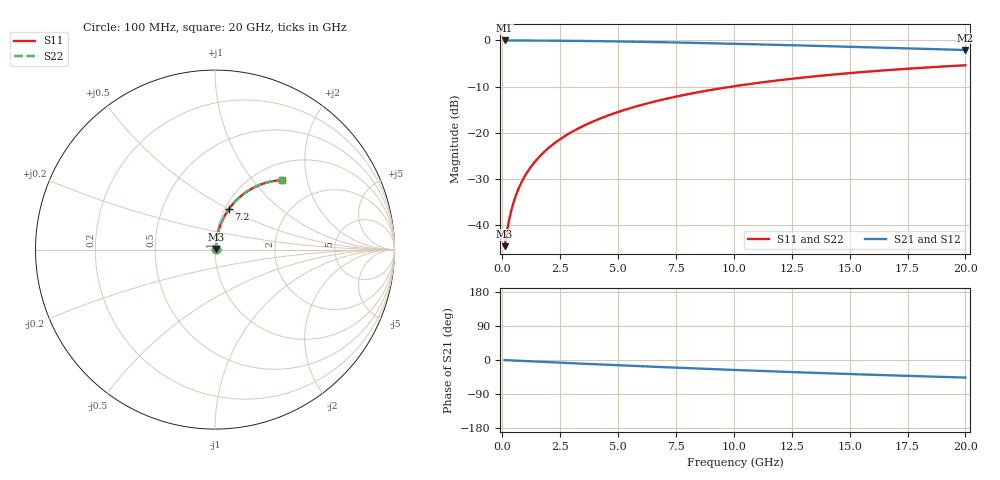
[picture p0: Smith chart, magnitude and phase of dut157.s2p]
! Touchstone file exported from HFSS 2024.1.0
!  File:  C:/UserFiles/LocalFiles/RDL_TSV_Batchsim/temp_RDL_top_157_1778685331.aedt
!  Generated:  11:17:50 PM May 13, 2026
!  Design:  RDL_top
!  Project:  temp_RDL_top_157_1778685331
!  Setup:  Setup1
!  Solution:  Sweep
! Variables:
!  dtsv = 10.80580581um
!  hbump = 3um
!  htsv = 50.84um
!  ldown = 100um
!  lrdl = 589.53um
!  p = 40
!  p1 = 53.86um
!  rhole = 1um
!  t = 450um
!  tdown = 3.915915916um
!  trdl = 4.26um
!  wdown = 15.38538539um
!  wrdl = 10.23um
# GHz S MA R 50.000000
! Terminal data exported
! Port[1] = Box2_T1
! Port[2] = Box2_T2
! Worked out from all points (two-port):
!   200 points, 100 MHz to 20 GHz, reference 50 ohm
!   highest |S21| = -0.04 dB at 100 MHz (marker M1); lowest = -2.1 dB at 20 GHz (marker M2)
!   |S21| within 3 dB of the highest: start of sweep to end of sweep
!   lowest |S11| = -44.5 dB at 100 MHz (marker M3), VSWR 1.01, Z = 50.5 + j0.352 ohm
!   |S11| at or under -10 dB: start of sweep to 9.936 GHz
!   |S22| runs from -44.5 to -5.4 dB; largest |S21 - S12| = 2.9e-15
!   S11 on the Smith chart (normalised r, x): 100 MHz: 1.01, +0.01; 7.2 GHz: 1.04, +0.50; 20 GHz: 1.31, +1.42
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0.1  0.005939 36.0  0.9952 -0.3  0.9952 -0.3  0.005939 36.0
! Gamma 0 0 0 0
! Port Impedance 50 0 50 0
0.2  0.008513 55.0  0.9951 -0.6  0.9951 -0.6  0.008513 55.0
0.3  0.01158 64.3  0.995 -0.9  0.995 -0.9  0.01158 64.3
0.4  0.01482 69.5  0.9949 -1.1  0.9949 -1.1  0.01482 69.5
0.5  0.01812 72.7  0.9947 -1.4  0.9947 -1.4  0.01812 72.7
0.6  0.02146 74.8  0.9946 -1.7  0.9946 -1.7  0.02146 74.9
0.8  0.02816 77.4  0.9942 -2.3  0.9942 -2.3  0.02816 77.4
1.1  0.03824 79.3  0.9935 -3.1  0.9935 -3.1  0.03825 79.3
1.5  0.0517 80.3  0.9924 -4.2  0.9924 -4.2  0.0517 80.3
1.8  0.06179 80.5  0.9914 -5.1  0.9914 -5.1  0.0618 80.5
2.1  0.07188 80.4  0.9902 -5.9  0.9902 -5.9  0.07188 80.4
2.7  0.09199 79.9  0.9873 -7.6  0.9873 -7.6  0.09199 79.9
3.5  0.1186 78.7  0.9826 -9.8  0.9826 -9.8  0.1186 78.7
4.2  0.1417 77.4  0.9776 -11.7  0.9776 -11.7  0.1417 77.4
5  0.1677 75.9  0.9711 -13.8  0.9711 -13.8  0.1676 75.9
6.8  0.2244 72.1  0.9537 -18.5  0.9537 -18.5  0.2244 72.1
7.2  0.2367 71.2  0.9494 -19.5  0.9494 -19.5  0.2367 71.2
8.6  0.2783 68.2  0.9335 -22.9  0.9335 -22.9  0.2783 68.2
10.1  0.3208 65.0  0.9151 -26.5  0.9151 -26.5  0.3207 65.0
13.4  0.4052 58.2  0.872 -33.8  0.872 -33.8  0.4051 58.2
16.7  0.4769 51.9  0.8277 -40.4  0.8277 -40.4  0.4769 51.9
20  0.5364 46.2  0.7845 -46.4  0.7845 -46.4  0.5364 46.2
